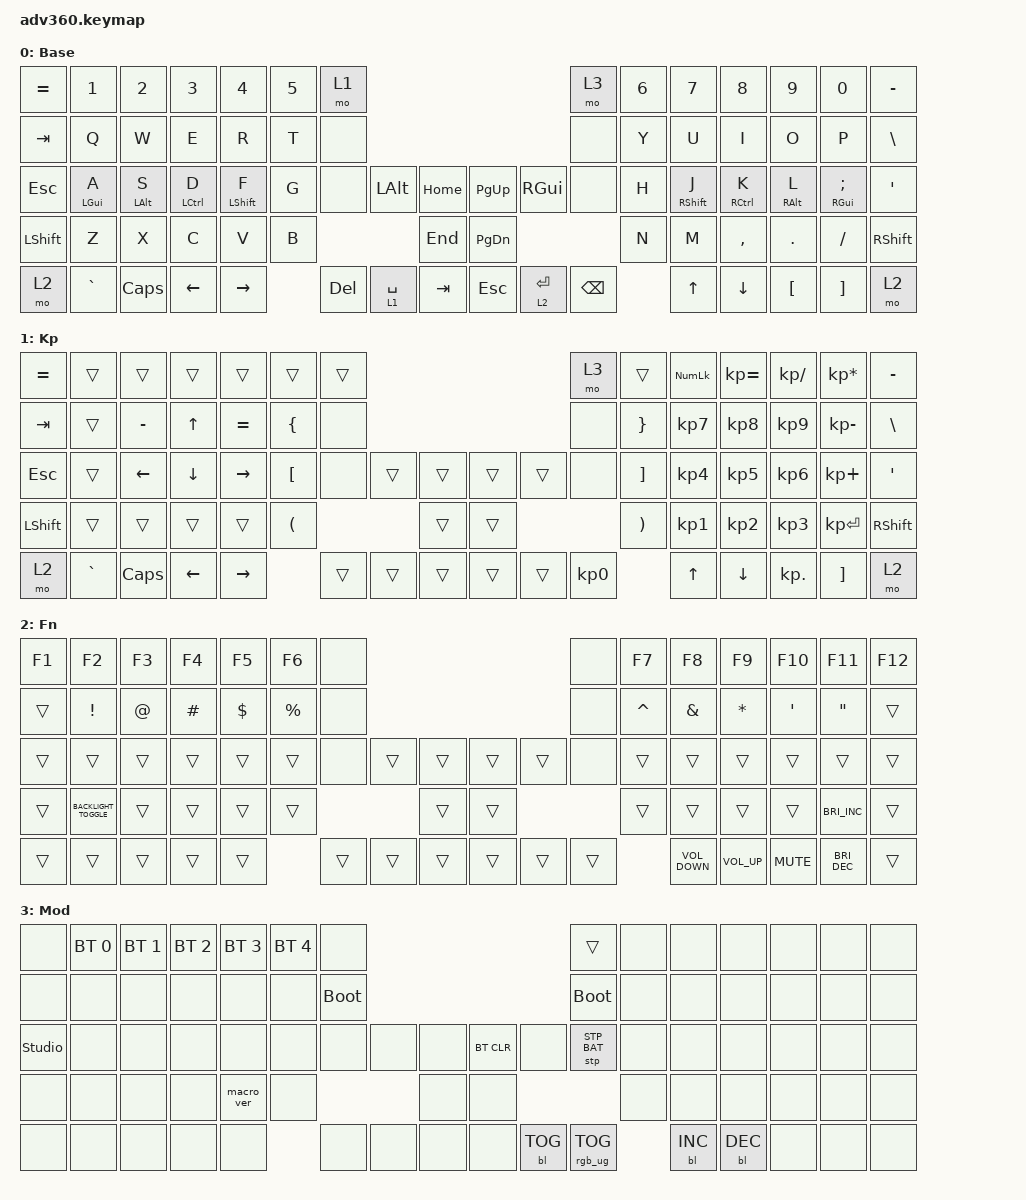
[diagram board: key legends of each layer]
#include <dt-bindings/zmk/stp.h>
#include <behaviors.dtsi>
#include <dt-bindings/zmk/backlight.h>
#include <dt-bindings/zmk/bt.h>
#include <dt-bindings/zmk/keys.h>
#include <dt-bindings/zmk/rgb.h>

/ {
    behaviors {
        #include "macros.dtsi"
      #include "version.dtsi"

        hm: homerow_mods {
            compatible = "zmk,behavior-hold-tap";
            label = "HOMEROW_MODS";
            #binding-cells = <2>;
            tapping-term-ms = <200>;
            quick_tap_ms = <175>;
            flavor = "tap-preferred";
            bindings = <&kp>, <&kp>;
        };
    };

    keymap {
        compatible = "zmk,keymap";

        default_layer {
            display-name = "Base";
            bindings = <
&kp EQUAL  &kp N1          &kp N2          &kp N3              &kp N4            &kp N5  &mo 1                                                              &mo 3          &kp N6  &kp N7             &kp N8               &kp N9           &kp N0                   &kp MINUS
&kp TAB    &kp Q           &kp W           &kp E               &kp R             &kp T   &none                                                              &none          &kp Y   &kp U              &kp I                &kp O            &kp P                    &kp BSLH
&kp ESC    &mt LEFT_GUI A  &mt LEFT_ALT S  &mt LEFT_CONTROL D  &mt LEFT_SHIFT F  &kp G   &none    &kp LEFT_ALT  &kp HOME      &kp PAGE_UP    &kp RIGHT_GUI  &none          &kp H   &mt RIGHT_SHIFT J  &mt RIGHT_CONTROL K  &mt RIGHT_ALT L  &mt RIGHT_GUI SEMICOLON  &kp SQT
&kp LSHFT  &kp Z           &kp X           &kp C               &kp V             &kp B                          &kp END       &kp PAGE_DOWN                                &kp N   &kp M              &kp COMMA            &kp DOT          &kp FSLH                 &kp RSHFT
&mo 2      &kp GRAVE       &kp CAPS        &kp LEFT            &kp RIGHT                 &kp DEL  &lt 1 SPACE   &kp TAB       &kp ESCAPE     &lt 2 ENTER    &kp BACKSPACE          &kp UP             &kp DOWN             &kp LBKT         &kp RBKT                 &mo 2
            >;
        };

        keypad {
            display-name = "Kp";
            bindings = <
&kp EQUAL  &trans     &trans     &trans          &trans     &trans                &trans                                      &mo 3      &trans                 &kp KP_NUM  &kp KP_EQUAL  &kp KP_DIVIDE  &kp KP_MULTIPLY  &kp MINUS
&kp TAB    &trans     &kp MINUS  &kp UP_ARROW    &kp EQUAL  &kp LEFT_BRACE        &none                                       &none      &kp RIGHT_BRACE        &kp KP_N7   &kp KP_N8     &kp KP_N9      &kp KP_MINUS     &kp BSLH
&kp ESC    &trans     &kp LEFT   &kp DOWN_ARROW  &kp RIGHT  &kp LEFT_BRACKET      &none   &trans  &trans      &trans  &trans  &none      &kp RIGHT_BRACKET      &kp KP_N4   &kp KP_N5     &kp KP_N6      &kp KP_PLUS      &kp SQT
&kp LSHFT  &trans     &trans     &trans          &trans     &kp LEFT_PARENTHESIS                  &trans      &trans                     &kp RIGHT_PARENTHESIS  &kp KP_N1   &kp KP_N2     &kp KP_N3      &kp KP_ENTER     &kp RSHFT
&mo 2      &kp GRAVE  &kp CAPS   &kp LEFT        &kp RIGHT                        &trans  &trans  &trans      &trans  &trans  &kp KP_N0                         &kp UP      &kp DOWN      &kp KP_DOT     &kp RBKT         &mo 2
            >;
        };

        fn {
            display-name = "Fn";
            bindings = <
&kp F1  &kp F2                  &kp F3       &kp F4    &kp F5      &kp F6       &none                                       &none   &kp F7     &kp F8             &kp F9           &kp F10           &kp F11               &kp F12
&trans  &kp EXCLAMATION         &kp AT_SIGN  &kp HASH  &kp DOLLAR  &kp PERCENT  &none                                       &none   &kp CARET  &kp AMPERSAND      &kp ASTERISK     &kp SINGLE_QUOTE  &kp DOUBLE_QUOTES     &trans
&trans  &trans                  &trans       &trans    &trans      &trans       &none   &trans  &trans      &trans  &trans  &none   &trans     &trans             &trans           &trans            &trans                &trans
&trans  &kp C_BACKLIGHT_TOGGLE  &trans       &trans    &trans      &trans                       &trans      &trans                  &trans     &trans             &trans           &trans            &kp C_BRIGHTNESS_INC  &trans
&trans  &trans                  &trans       &trans    &trans                   &trans  &trans  &trans      &trans  &trans  &trans             &kp C_VOLUME_DOWN  &kp C_VOLUME_UP  &kp K_MUTE        &kp C_BRIGHTNESS_DEC  &trans
            >;
        };

        mod {
            display-name = "Mod";
            bindings = <
&none           &bt BT_SEL 0  &bt BT_SEL 1  &bt BT_SEL 2  &bt BT_SEL 3  &bt BT_SEL 4  &none                                                  &trans           &none  &none       &none       &none  &none  &none
&none           &none         &none         &none         &none         &none         &bootloader                                            &bootloader      &none  &none       &none       &none  &none  &none
&studio_unlock  &none         &none         &none         &none         &none         &none        &none  &none      &bt BT_CLR  &none       &stp STP_BAT     &none  &none       &none       &none  &none  &none
&none           &none         &none         &none         &macro_ver    &none                             &none      &none                                    &none  &none       &none       &none  &none  &none
&none           &none         &none         &none         &none                       &none        &none  &none      &none       &bl BL_TOG  &rgb_ug RGB_TOG         &bl BL_INC  &bl BL_DEC  &none  &none  &none
            >;
        };

        extra1 {
            display-name = "Red";
            status = "reserved";
        };

        extra2 {
            display-name = "Purple";
            status = "reserved";
        };

        extra3 {
            display-name = "Cyan";
            status = "reserved";
        };

        extra4 {
            display-name = "Yellow";
            status = "reserved";
        };
    };
};
